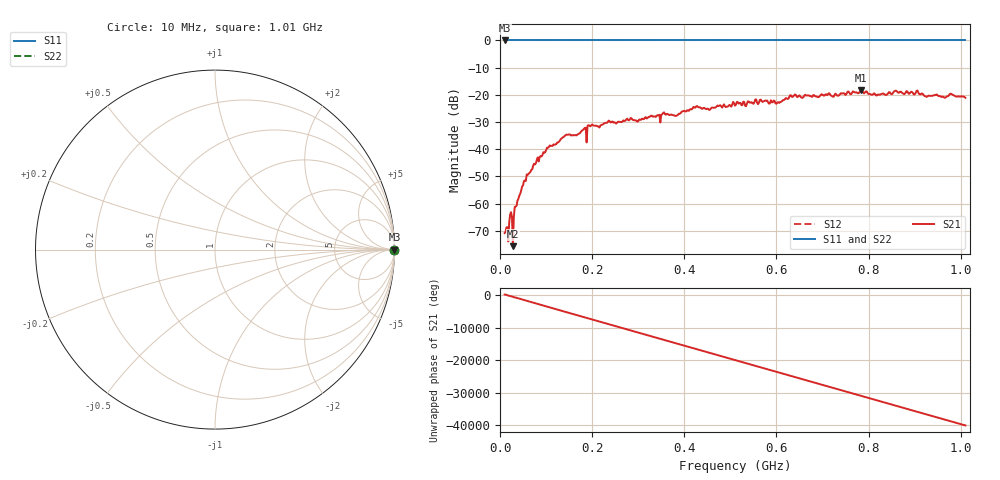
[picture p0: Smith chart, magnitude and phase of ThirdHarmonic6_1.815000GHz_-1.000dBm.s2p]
! 8/16/2025 9:59:41 PM
! C:\ANRITSUVNA\TEMP\TEMP.S2P
! CHANNEL.1
! TR.MEASUREMENT
! RAW.DATA
! RF.CORRECTION.OFF
! AVERAGING.OFF
! IF.BANDWIDTH: 5KHZ
! SWEEPTYPE:  FREQ.SWEEP(Linear)
! Reference Plane Port Info
! PORT:  PORT1  PORT2
! DISTANCE:  0  m  0  m
! TIME:  0  s  0  s
! PHASE.OFFSET:  0  deg.  0  deg.
! LOSS:  0  dB  0  dB
! REF.LOSS:  0  dB  0  dB
! REF.FREQ:  0  Hz  0  Hz
! Power Info
! POWER:  -20  dBm  -20  dBm
! EFF.POWER:  -20  dBm  -20  dBm
! SOURCE.ATTEN:  0  dB  0  dB
! TEST.ATTEN:  0  dB  0  dB
# GHZ S RI R 50.0
! FREQ.GHZ  S11RE  S11IM  S21RE  S21IM  S12RE  S12IM  S22RE  S22IM
!; PortSelection: Port_12
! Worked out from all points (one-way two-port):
!   501 points, 10 MHz to 1.01 GHz, reference 50 ohm
!   highest |S21| = -18.18 dB at 784 MHz (marker M1); lowest = -75.7 dB at 28 MHz (marker M2)
!   lowest |S11| = 0.0 dB at 10 MHz (marker M3)
!   |S11| at or under -10 dB: nowhere
!   |S22| runs from 0.0 to 0.0 dB; largest |S21 - S12| = 1.1
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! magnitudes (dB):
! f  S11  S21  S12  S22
! 10 MHz  0.0  -70.9  0.0  0.0
! 14 MHz  0.0  -68.7  0.0  0.0
! 28 MHz  0.0  -75.7  0.0  0.0
! 32 MHz  0.0  -61.2  0.0  0.0
! 36 MHz  0.0  -60.8  0.0  0.0
! 50 MHz  0.0  -53.3  0.0  0.0
! 78 MHz  0.0  -45.1  0.0  0.0
! 106 MHz  0.0  -39.2  0.0  0.0
! 140 MHz  0.0  -35.2  0.0  0.0
! 178 MHz  0.0  -33.1  0.0  0.0
! 234 MHz  0.0  -30.0  0.0  0.0
! 344 MHz  0.0  -27.5  0.0  0.0
! 382 MHz  0.0  -27.8  0.0  0.0
! 424 MHz  0.0  -24.7  0.0  0.0
! 452 MHz  0.0  -25.2  0.0  0.0
! 510 MHz  0.0  -24.0  0.0  0.0
! 602 MHz  0.0  -22.8  0.0  0.0
! 634 MHz  0.0  -20.8  0.0  0.0
! 678 MHz  0.0  -20.7  0.0  0.0
! 784 MHz  0.0  -18.2  0.0  0.0
! 844 MHz  0.0  -19.0  0.0  0.0
! 1.01 GHz  0.0  -21.1  0.0  0.0
